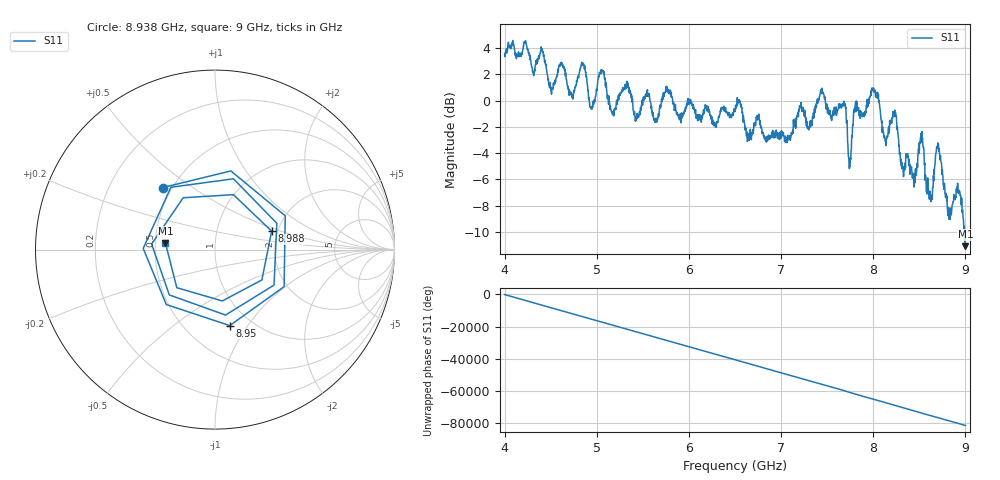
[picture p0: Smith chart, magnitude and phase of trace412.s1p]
! Created with skrf 1.8.0 (http://scikit-rf.org).
# Hz S RI R 50.0
!freq ReS11 ImS11
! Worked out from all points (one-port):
!   1601 points, 4 GHz to 9 GHz, reference 50 ohm
!   lowest |S11| = -11.1 dB at 9 GHz (marker M1), VSWR 1.77, Z = 28.3 + j2.28 ohm
!   |S11| at or under -10 dB: 8.990253 GHz to end of sweep
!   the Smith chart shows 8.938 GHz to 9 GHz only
!   S11 on the Smith chart (normalised r, x): 8.938 GHz: 0.45, +0.39; 8.95 GHz: 0.80, -0.83; 8.988 GHz: 1.86, +0.43; 9 GHz: 0.57, +0.05
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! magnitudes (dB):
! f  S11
! 4 GHz  3.5
! 4.406 GHz  4.0
! 4.503 GHz  0.8
! 4.625 GHz  2.7
! 4.722 GHz  0.7
! 4.856 GHz  2.8
! 4.944 GHz  -0.6
! 5.053 GHz  2.4
! 5.162 GHz  -0.8
! 5.25 GHz  0.4
! 5.875 GHz  -0.9
! 6.5 GHz  -0.7
! 7.125 GHz  -2.3
! 7.441 GHz  1.0
! 7.681 GHz  0.0
! 7.75 GHz  -4.7
! 7.809 GHz  -0.1
! 7.997 GHz  1.0
! 8.375 GHz  -4.2
! 8.447 GHz  -6.0
! 8.522 GHz  -2.7
! 8.622 GHz  -7.5
! 8.706 GHz  -3.3
! 8.828 GHz  -8.7
! 8.938 GHz  -6.9
! 8.95 GHz  -7.3
! 8.988 GHz  -9.6
! 9 GHz  -11.1
